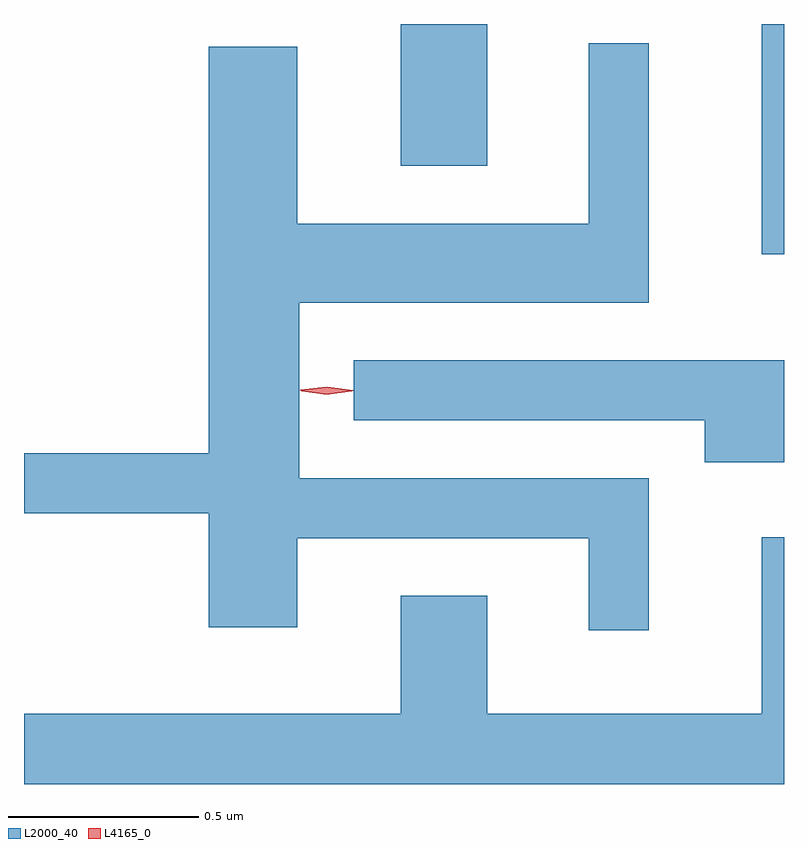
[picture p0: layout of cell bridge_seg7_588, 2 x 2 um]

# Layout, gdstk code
import gdstk
lib = gdstk.Library(unit=1e-6, precision=1e-09)
def R(c, l, rs):  # rectangles x0, y0, x1, y1
    for r in rs: c.add(gdstk.rectangle(r[:2], r[2:], *l))
def P(c, l, *ps):  # polygons
    for p in ps: c.add(gdstk.Polygon(p, *l))
L2000_40 = (2000, 40)
L4165_0 = (4165, 0)

bridge_seg7_588 = lib.new_cell('bridge_seg7_588')
R(bridge_seg7_588, L2000_40, [(961.561,1789.053,961.62,1789.659), (960.611,1789.286,960.839,1789.659)])
P(bridge_seg7_588, L2000_40, [(961.264,1788.464),(960.344,1788.464),(960.344,1788.926),(961.264,1788.926),(961.264,1789.608),(961.106,1789.608),(961.106,1789.134),(960.339,1789.134),(960.339,1789.599),(960.106,1789.599),(960.106,1788.529),(959.62,1788.529),(959.62,1788.371),(960.106,1788.371),(960.106,1788.071),(960.339,1788.071),(960.339,1788.306),(961.106,1788.306),(961.106,1788.063),(961.264,1788.063)],
  [(961.62,1788.774),(960.488,1788.774),(960.488,1788.616),(961.411,1788.616),(961.411,1788.506),(961.62,1788.506)],
  [(961.62,1788.308),(961.561,1788.308),(961.561,1787.844),(960.839,1787.844),(960.839,1788.154),(960.611,1788.154),(960.611,1787.844),(959.62,1787.844),(959.62,1787.659),(961.62,1787.659)])
P(bridge_seg7_588, L4165_0, [(960.416,1788.685),(960.347,1788.695),(960.347,1788.695),(960.347,1788.696),(960.417,1788.705),(960.486,1788.695),(960.486,1788.695),(960.486,1788.694)],
  [(960.417,1788.684),(960.351,1788.693),(960.35,1788.694),(960.351,1788.694),(960.417,1788.704),(960.482,1788.694),(960.483,1788.694),(960.482,1788.693)])

lib.write_gds('bridge_seg7_588.gds')
